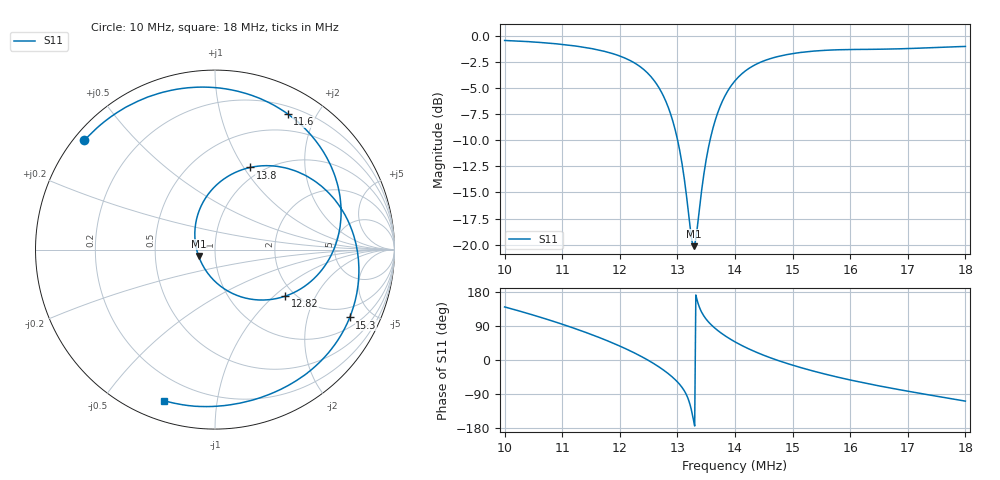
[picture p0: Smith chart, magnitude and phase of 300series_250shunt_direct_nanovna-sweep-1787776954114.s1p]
! NanoVNA Web complex sweep
! Processing: original sample grid, no browser smoothing
# Hz S RI R 50
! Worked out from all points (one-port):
!   401 points, 10 MHz to 18 MHz, reference 50 ohm
!   lowest |S11| = -20.1 dB at 13.28 MHz (marker M1), VSWR 1.22, Z = 41.5 - j2.97 ohm
!   |S11| at or under -10 dB: 13 MHz to 13.57 MHz (562.9 kHz wide, 4.24 % of centre)
!   S11 on the Smith chart (normalised r, x): 10 MHz: 0.03, +0.36; 11.6 MHz: 0.29, +1.63; 12.82 MHz: 1.78, -1.19; 13.8 MHz: 0.88, +1.07; 15.3 MHz: 1.43, -3.69; 18 MHz: 0.09, -0.72
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1e7  -0.7272 0.6091
1.056e7  -0.4026 0.8387
1.1e7  -0.0705 0.9055
1.13e7  0.1728 0.8698
1.16e7  0.4044 0.7562
1.2e7  0.6401 0.4781
1.224e7  0.7011 0.251
1.244e7  0.6779 0.0449
1.262e7  0.5832 -0.1279
1.282e7  0.392 -0.2592
1.3e7  0.1705 -0.2702
1.314e7  0.0108 -0.1873
1.324e7  -0.0704 -0.0839
1.328e7  -0.0917 -0.0354
1.332e7  -0.1057 0.0155
1.342e7  -0.1075 0.1458
1.356e7  -0.0381 0.3083
1.38e7  0.1968 0.4578
1.4e7  0.4082 0.4512
1.422e7  0.594 0.3527
1.446e7  0.7248 0.1923
1.472e7  0.7914 0.0022
1.5e7  0.7974 -0.1934
1.53e7  0.7506 -0.3782
1.6e7  0.5191 -0.6833
1.648e7  0.3263 -0.7968
1.7e7  0.1156 -0.8599
1.8e7  -0.2814 -0.8421
